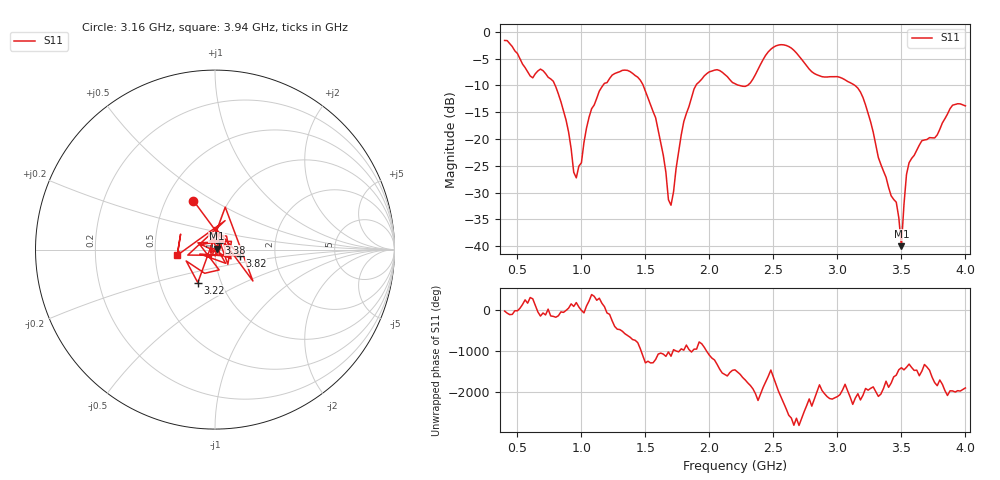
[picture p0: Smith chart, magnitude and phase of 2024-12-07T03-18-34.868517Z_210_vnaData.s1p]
!Created with skrf (http://scikit-rf.org).
# Hz S RI R 50.0
!freq ReS11 ImS11
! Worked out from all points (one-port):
!   181 points, 400 MHz to 4 GHz, reference 50 ohm
!   lowest |S11| = -40.0 dB at 3.5 GHz (marker M1), VSWR 1.02, Z = 50.8 + j0.552 ohm
!   |S11| at or under -10 dB: 794.9 MHz to 1.168 GHz (373.5 MHz wide, 38.1 % of centre); 1.483 GHz to 1.895 GHz (412.4 MHz wide, 24.4 % of centre); 3.136 GHz to end of sweep (the widest 3 of 4)
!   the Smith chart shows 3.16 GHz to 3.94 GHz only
!   S11 on the Smith chart (normalised r, x): 3.16 GHz: 0.69, +0.41; 3.22 GHz: 0.78, -0.30; 3.38 GHz: 1.04, +0.08; 3.82 GHz: 1.31, -0.09; 3.94 GHz: 0.65, -0.04
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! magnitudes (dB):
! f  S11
! 400 MHz  -1.6
! 600 MHz  -8.2
! 780 MHz  -9.2
! 860 MHz  -14.7
! 960 MHz  -27.2
! 1.08 GHz  -14.3
! 1.3 GHz  -7.4
! 1.46 GHz  -9.0
! 1.58 GHz  -16.0
! 1.7 GHz  -32.3
! 1.76 GHz  -22.3
! 1.9 GHz  -9.8
! 2.06 GHz  -7.1
! 2.2 GHz  -9.7
! 2.32 GHz  -9.5
! 2.5 GHz  -2.9
! 2.66 GHz  -3.5
! 3.1 GHz  -9.5
! 3.16 GHz  -10.5
! 3.22 GHz  -13.7
! 3.38 GHz  -27.1
! 3.46 GHz  -31.8
! 3.5 GHz  -40.0
! 3.54 GHz  -26.6
! 3.56 GHz  -24.4
! 3.82 GHz  -17.0
! 3.94 GHz  -13.4
! 4 GHz  -13.8
